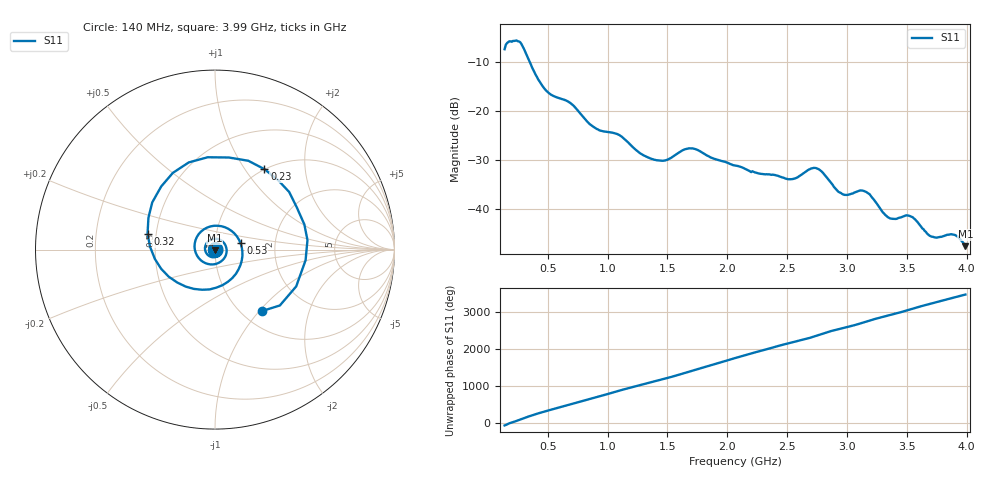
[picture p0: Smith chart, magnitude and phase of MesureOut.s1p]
# MHz S MA R 50.0
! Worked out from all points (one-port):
!   386 points, 140 MHz to 3.99 GHz, reference 50 ohm
!   lowest |S11| = -47.7 dB at 3.99 GHz (marker M1), VSWR 1.01, Z = 49.8 - j0.362 ohm
!   |S11| at or under -10 dB: 351.1 MHz to end of sweep
!   S11 on the Smith chart (normalised r, x): 140 MHz: 1.22, -1.03; 230 MHz: 1.00, +1.24; 320 MHz: 0.45, +0.09; 530 MHz: 1.33, +0.10; 3.99 GHz: 1.00, -0.01
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140  0.4301 -52.9
180  0.5179 5.9
230  0.5261 58.4
270  0.5073 106.7
320  0.3861 166.8
360  0.2986 -149.6
400  0.2348 -107.7
460  0.1784 -49.3
530  0.1466 14.0
630  0.1317 100.7
710  0.1153 171.8
790  0.089 -115.7
920  0.0649 -0.2
1110  0.05561 177.7
1390  0.03176 54.6
1590  0.03715 -129.5
1720  0.04124 -2.3
2070  0.02764 -29.6
2550  0.02017 36.4
2740  0.02611 -157.6
2930  0.01486 25.4
3030  0.01412 105.6
3160  0.01488 -130.4
3360  0.007964 48.0
3510  0.008515 -179.1
3690  0.005301 -14.1
3900  0.005399 165.3
3990  0.004136 -118.6
